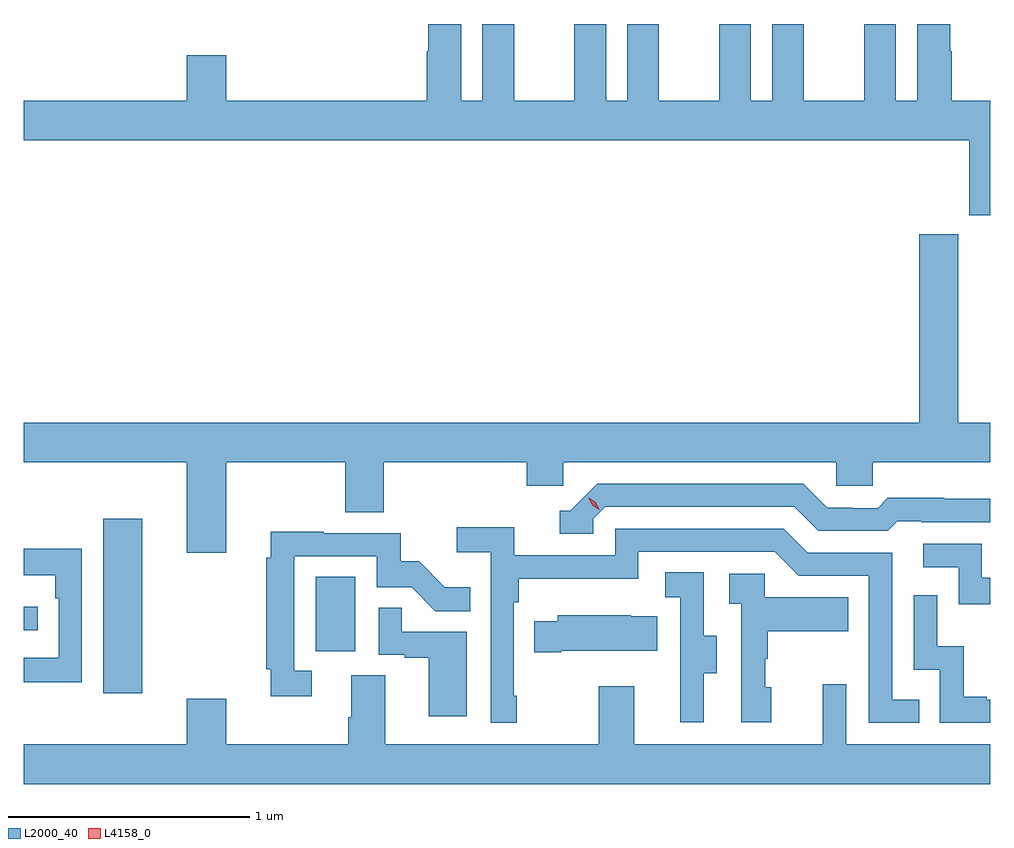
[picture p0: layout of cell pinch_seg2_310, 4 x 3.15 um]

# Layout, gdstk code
import gdstk
lib = gdstk.Library(unit=1e-6, precision=1e-09)
def R(c, l, rs):  # rectangles x0, y0, x1, y1
    for r in rs: c.add(gdstk.rectangle(r[:2], r[2:], *l))
def P(c, l, *ps):  # polygons
    for p in ps: c.add(gdstk.Polygon(p, *l))
L2000_40 = (2000, 40)
L4158_0 = (4158, 0)

pinch_seg2_310 = lib.new_cell('pinch_seg2_310')
R(pinch_seg2_310, L2000_40, [(895.931,633.36,896.092,634.081), (896.81,633.534,896.974,633.841), (895.602,633.621,895.66,633.717)])
P(pinch_seg2_310, L2000_40, [(899.602,635.812),(899.444,635.812),(899.444,636.017),(899.437,636.017),(899.437,636.13),(899.3,636.13),(899.3,635.812),(899.212,635.812),(899.212,636.13),(899.081,636.13),(899.081,635.812),(898.831,635.812),(898.831,636.13),(898.7,636.13),(898.7,635.812),(898.612,635.812),(898.612,636.13),(898.481,636.13),(898.481,635.812),(898.231,635.812),(898.231,636.13),(898.1,636.13),(898.1,635.812),(898.012,635.812),(898.012,636.13),(897.881,636.13),(897.881,635.812),(897.631,635.812),(897.631,636.13),(897.5,636.13),(897.5,635.812),(897.412,635.812),(897.412,636.13),(897.275,636.13),(897.275,636.017),(897.269,636.017),(897.269,635.812),(896.44,635.812),(896.44,636.001),(896.276,636.001),(896.276,635.812),(895.602,635.812),(895.602,635.648),(899.516,635.648),(899.516,635.339),(899.602,635.339)],
  [(896.44,634.316),(896.932,634.316),(896.932,634.108),(897.092,634.108),(897.092,634.316),(897.683,634.316),(897.683,634.218),(897.834,634.218),(897.834,634.316),(898.965,634.316),(898.965,634.218),(899.115,634.218),(899.115,634.316),(899.602,634.316),(899.602,634.48),(899.469,634.48),(899.469,635.26),(899.309,635.26),(899.309,634.48),(895.602,634.48),(895.602,634.316),(896.276,634.316),(896.276,633.942),(896.44,633.942)],
  [(897.96,634.083),(898.008,634.131),(898.791,634.131),(898.89,634.032),(899.179,634.032),(899.218,634.071),(899.317,634.071),(899.317,634.068),(899.602,634.068),(899.602,634.165),(899.412,634.165),(899.412,634.168),(899.179,634.168),(899.137,634.125),(899.034,634.125),(899.034,634.128),(898.927,634.128),(898.828,634.227),(897.975,634.227),(897.864,634.116),(897.821,634.116),(897.821,634.02),(897.96,634.02)],
  [(897.643,633.349),(897.63,633.349),(897.63,633.737),(897.65,633.737),(897.65,633.833),(898.146,633.833),(898.146,633.945),(898.71,633.945),(898.809,633.846),(899.1,633.846),(899.1,633.237),(899.309,633.237),(899.309,633.333),(899.196,633.333),(899.196,633.942),(898.846,633.942),(898.747,634.041),(898.05,634.041),(898.05,633.93),(897.632,633.93),(897.632,634.046),(897.393,634.046),(897.393,633.944),(897.534,633.944),(897.534,633.237),(897.643,633.237)],
  [(896.794,633.453),(896.721,633.453),(896.721,633.927),(897.063,633.927),(897.063,633.798),(897.207,633.798),(897.305,633.7),(897.449,633.7),(897.449,633.799),(897.345,633.799),(897.238,633.906),(897.162,633.906),(897.162,634.023),(896.843,634.023),(896.843,634.028),(896.624,634.028),(896.624,633.92),(896.605,633.92),(896.605,633.46),(896.624,633.46),(896.624,633.348),(896.794,633.348)],
  [(899.602,633.837),(899.568,633.837),(899.568,633.978),(899.325,633.978),(899.325,633.882),(899.472,633.882),(899.472,633.729),(899.602,633.729)],
  [(895.842,633.958),(895.602,633.958),(895.602,633.848),(895.733,633.848),(895.733,633.752),(895.746,633.752),(895.746,633.507),(895.602,633.507),(895.602,633.406),(895.842,633.406)],
  [(898.417,633.442),(898.471,633.442),(898.471,633.597),(898.416,633.597),(898.416,633.86),(898.257,633.86),(898.257,633.757),(898.32,633.757),(898.32,633.453),(898.319,633.453),(898.319,633.24),(898.417,633.24)],
  [(898.696,633.384),(898.671,633.384),(898.671,633.503),(898.681,633.503),(898.681,633.617),(899.015,633.617),(899.015,633.757),(898.668,633.757),(898.668,633.855),(898.521,633.855),(898.521,633.731),(898.572,633.731),(898.572,633.24),(898.696,633.24)],
  [(899.602,633.333),(899.587,633.333),(899.587,633.346),(899.492,633.346),(899.492,633.554),(899.382,633.554),(899.382,633.766),(899.286,633.766),(899.286,633.456),(899.394,633.456),(899.394,633.237),(899.602,633.237)],
  [(897.436,633.615),(897.167,633.615),(897.167,633.713),(897.072,633.713),(897.072,633.519),(897.179,633.519),(897.179,633.507),(897.278,633.507),(897.278,633.264),(897.436,633.264)],
  [(897.826,633.536),(898.223,633.536),(898.223,633.679),(898.115,633.679),(898.115,633.682),(897.813,633.682),(897.813,633.658),(897.715,633.658),(897.715,633.529),(897.826,633.529)],
  [(899.602,633.148),(899.007,633.148),(899.007,633.397),(898.91,633.397),(898.91,633.148),(898.129,633.148),(898.129,633.388),(897.982,633.388),(897.982,633.148),(897.097,633.148),(897.097,633.434),(896.957,633.434),(896.957,633.26),(896.945,633.26),(896.945,633.148),(896.44,633.148),(896.44,633.337),(896.276,633.337),(896.276,633.148),(895.602,633.148),(895.602,632.984),(899.602,632.984)])
P(pinch_seg2_310, L4158_0, [(897.985,634.118),(897.954,634.138),(897.939,634.171),(897.939,634.171),(897.939,634.171),(897.969,634.151),(897.985,634.118),(897.985,634.118)])

lib.write_gds('pinch_seg2_310.gds')
